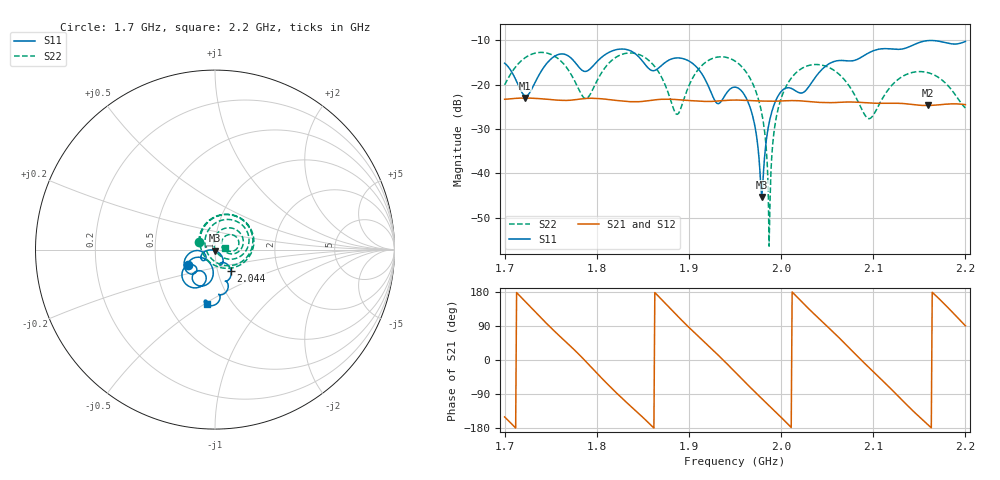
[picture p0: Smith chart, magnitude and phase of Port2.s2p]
# Hz S RI R 50
! CMT, CMT808U, 21440046, 21.4.3/4
! Date: 12/11/2025 6:10:48 PM
! Data: Format (Calibration Info)
! Freq	S11:Re/Im(F2)	S41:Re/Im(F2)	S14:Re/Im(F2)	S44:Re/Im(F2)
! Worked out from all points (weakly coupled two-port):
!   501 points, 1.7 GHz to 2.2 GHz, reference 50 ohm
!   highest |S21| = -23.03 dB at 1.722 GHz (marker M1); lowest = -24.7 dB at 2.159 GHz (marker M2)
!   lowest |S11| = -45.3 dB at 1.979 GHz (marker M3), VSWR 1.01, Z = 49.8 - j0.511 ohm
!   |S11| at or under -10 dB: start of sweep to end of sweep
!   |S22| runs from -56.4 to -12.7 dB; largest |S21 - S12| = 0.00069
!   S11 on the Smith chart (normalised r, x): 1.7 GHz: 0.73, -0.13; 2.044 GHz: 1.16, -0.28; 2.2 GHz: 0.77, -0.52
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1.7e9  -0.1523 -0.085  -0.0593 -0.034  -0.0589 -0.0343  -0.0891 0.0439
1.722e9  -0.0497 -0.0559  -0.064 0.0297  -0.0641 0.0291  0.0415 0.1955
1.757e9  -0.0732 -0.203  0.0236 0.0626  0.0231 0.0626  0.1981 -0.027
1.784e9  -0.0855 -0.1173  0.0686 0.00801  0.0685 0.00848  -0.0303 -0.0691
1.828e9  -0.159 -0.1952  -0.0137 -0.0637  -0.0132 -0.0637  0.1227 0.1831
1.867e9  -0.1012 -0.1152  -0.0664 0.0141  -0.0665 0.0136  0.11 -0.0852
1.887e9  -0.1587 -0.1214  -0.0314 0.06  -0.0319 0.0597  -0.04 -0.0231
1.915e9  -0.127 -0.0111  0.0405 0.0505  0.04 0.0508  0.0375 0.1636
1.931e9  -0.0552 -0.0264  0.0631 0.0164  0.0629 0.017  0.1507 0.138
1.95e9  -0.0754 -0.0553  0.0571 -0.0352  0.0573 -0.0346  0.1835 0.0159
1.968e9  -0.0485 -0.00655  0.0165 -0.0638  0.0169 -0.0637  0.0953 -0.0533
1.979e9  -0.0017 -0.00513  -0.0133 -0.064  -0.0127 -0.064  0.0311 -0.0361
1.983e9  0.0146 -0.0125  -0.0236 -0.0608  -0.0229 -0.0609  0.0139 -0.02
1.987e9  0.0285 -0.0235  -0.0331 -0.056  -0.0325 -0.0563  0.00146 -0.000385
1.993e9  0.0421 -0.045  -0.0458 -0.0463  -0.0452 -0.0466  -0.00658 0.0323
2e9  0.0442 -0.0707  -0.0573 -0.0315  -0.0569 -0.032  -9.04e-05 0.0698
2.034e9  0.0698 -0.0832  -0.0373 0.0518  -0.0377 0.0515  0.1393 0.0928
2.044e9  0.0889 -0.1169  -0.0136 0.0613  -0.0142 0.0612  0.1571 0.0537
2.095e9  0.0723 -0.2155  0.0587 -0.0203  0.0588 -0.0198  0.0394 0.0126
2.117e9  0.0271 -0.2518  0.0202 -0.0583  0.0207 -0.058  0.0534 0.0721
2.159e9  -0.016 -0.3125  -0.0573 -0.0101  -0.0573 -0.0106  0.1329 0.0317
2.2e9  -0.0421 -0.3035  -0.000482 0.0594  -0.000983 0.0593  0.0539 0.00892
